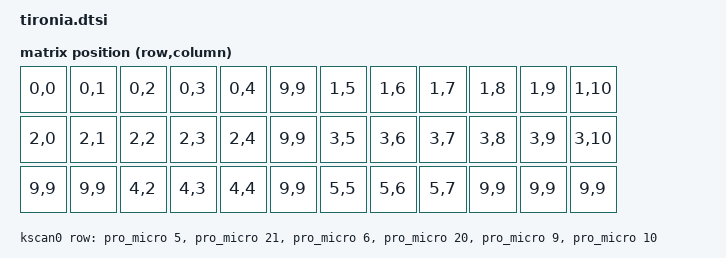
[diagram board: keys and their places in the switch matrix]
#include <dt-bindings/zmk/matrix_transform.h>

/ {
    chosen {
        zmk,kscan = &kscan0;
        zmk,matrix_transform = &default_transform;
    };

    default_transform: keymap_transform_0 {
        compatible = "zmk,matrix-transform";
        columns = <11>;
        rows = <6>;
        // 28-key single controller layout matrix mapping
        // Matrix: 6 rows × 11 columns = 66 positions, using 28 keys
        map = <
            RC(0,0) RC(0,1) RC(0,2) RC(0,3) RC(0,4)    RC(9,9) RC(1,5) RC(1,6) RC(1,7) RC(1,8) RC(1,9) RC(1,10)
            RC(2,0) RC(2,1) RC(2,2) RC(2,3) RC(2,4)    RC(9,9) RC(3,5) RC(3,6) RC(3,7) RC(3,8) RC(3,9) RC(3,10)
            RC(9,9) RC(9,9) RC(4,2) RC(4,3) RC(4,4)    RC(9,9) RC(5,5) RC(5,6) RC(5,7) RC(9,9) RC(9,9) RC(9,9)
        >;
    };

    kscan0: kscan {
        compatible = "zmk,kscan-gpio-matrix";
        label = "KSCAN";
        diode-direction = "col2row";
        
        row-gpios
            = <&pro_micro 5 (GPIO_ACTIVE_HIGH | GPIO_PULL_DOWN)>    // Left top row
            , <&pro_micro 21 (GPIO_ACTIVE_HIGH | GPIO_PULL_DOWN)>   // Right top row  
            , <&pro_micro 6 (GPIO_ACTIVE_HIGH | GPIO_PULL_DOWN)>    // Left middle row
            , <&pro_micro 20 (GPIO_ACTIVE_HIGH | GPIO_PULL_DOWN)>   // Right middle row
            , <&pro_micro 9 (GPIO_ACTIVE_HIGH | GPIO_PULL_DOWN)>    // Left thumb row
            , <&pro_micro 10 (GPIO_ACTIVE_HIGH | GPIO_PULL_DOWN)>   // Right thumb row
            ;
    };

    // Left hand column definitions
    left_hand_cols: virtual_input {
        compatible = "zmk,virtual-input";
    };

    // Right hand column definitions  
    right_hand_cols: virtual_input {
        compatible = "zmk,virtual-input";
    };
};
